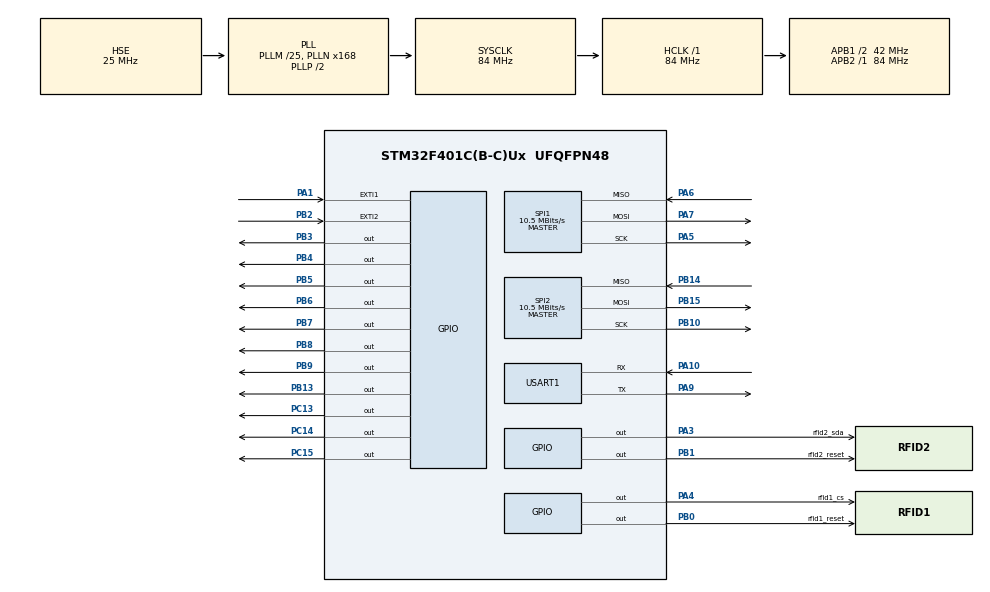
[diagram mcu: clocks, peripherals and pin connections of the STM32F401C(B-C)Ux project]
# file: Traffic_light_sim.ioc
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Mcu.Family=STM32F4
Mcu.Name=STM32F401C(B-C)Ux
Mcu.Package=UFQFPN48
NVIC.PriorityGroup=NVIC_PRIORITYGROUP_4
NVIC.TIM2_IRQn=true\:0\:0\:false\:false\:true\:true\:true\:true
PA1.GPIO_PuPd=GPIO_PULLDOWN
PA1.Signal=GPXTI1
PA10.Mode=Asynchronous
PA10.Signal=USART1_RX
PA13.Mode=Serial_Wire
PA13.Signal=SYS_JTMS-SWDIO
PA14.Mode=Serial_Wire
PA14.Signal=SYS_JTCK-SWCLK
PA3.GPIO_Label=rfid2_sda
PA3.Signal=GPIO_Output
PA4.GPIO_Label=rfid1_cs
PA4.Signal=GPIO_Output
PA5.Mode=Full_Duplex_Master
PA5.Signal=SPI1_SCK
PA6.Mode=Full_Duplex_Master
PA6.Signal=SPI1_MISO
PA7.Mode=Full_Duplex_Master
PA7.Signal=SPI1_MOSI
PA9.Mode=Asynchronous
PA9.Signal=USART1_TX
PB0.GPIO_Label=rfid1_reset
PB0.Signal=GPIO_Output
PB1.GPIO_Label=rfid2_reset
PB1.Signal=GPIO_Output
PB10.Mode=Full_Duplex_Master
PB10.Signal=SPI2_SCK
PB13.Signal=GPIO_Output
PB14.Mode=Full_Duplex_Master
PB14.Signal=SPI2_MISO
PB15.Mode=Full_Duplex_Master
PB15.Signal=SPI2_MOSI
PB2.GPIO_PuPd=GPIO_PULLDOWN
PB2.Signal=GPXTI2
PB3.Signal=GPIO_Output
PB4.Signal=GPIO_Output
PB5.Signal=GPIO_Output
PB6.Signal=GPIO_Output
PB7.Signal=GPIO_Output
PB8.Signal=GPIO_Output
PB9.Signal=GPIO_Output
PC13-ANTI_TAMP.Signal=GPIO_Output
PC14-OSC32_IN.Signal=GPIO_Output
PC15-OSC32_OUT.Signal=GPIO_Output
PH0\ -\ OSC_IN.Mode=HSE-External-Oscillator
PH0\ -\ OSC_IN.Signal=RCC_OSC_IN
PH1\ -\ OSC_OUT.Mode=HSE-External-Oscillator
PH1\ -\ OSC_OUT.Signal=RCC_OSC_OUT
ProjectManager.HeapSize=0x200
ProjectManager.StackSize=0x400
ProjectManager.TargetToolchain=STM32CubeIDE
RCC.48MHZClocksFreq_Value=42000000
RCC.AHBFreq_Value=84000000
RCC.APB1CLKDivider=RCC_HCLK_DIV2
RCC.APB1Freq_Value=42000000
RCC.APB1TimFreq_Value=84000000
RCC.APB2Freq_Value=84000000
RCC.APB2TimFreq_Value=84000000
RCC.CortexFreq_Value=84000000
RCC.HCLKFreq_Value=84000000
RCC.HSE_VALUE=25000000
RCC.HSI_VALUE=16000000
RCC.LSE_VALUE=32768
RCC.PLLM=25
RCC.PLLN=168
RCC.PLLSourceVirtual=RCC_PLLSOURCE_HSE
RCC.SYSCLKFreq_VALUE=84000000
RCC.SYSCLKSource=RCC_SYSCLKSOURCE_PLLCLK
RCC.VCOOutputFreq_Value=168000000
SPI1.BaudRatePrescaler=SPI_BAUDRATEPRESCALER_8
SPI1.CalculateBaudRate=10.5 MBits/s
SPI1.Direction=SPI_DIRECTION_2LINES
SPI1.Mode=SPI_MODE_MASTER
SPI1.VirtualType=VM_MASTER
SPI2.BaudRatePrescaler=SPI_BAUDRATEPRESCALER_4
SPI2.CalculateBaudRate=10.5 MBits/s
SPI2.Direction=SPI_DIRECTION_2LINES
SPI2.Mode=SPI_MODE_MASTER
SPI2.VirtualType=VM_MASTER
TIM2.Period=9999
TIM2.Prescaler=8399
USART1.VirtualMode=VM_ASYNC
VP_TIM2_VS_ClockSourceINT.Mode=Internal
board=custom

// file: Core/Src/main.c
/* USER CODE BEGIN Header */
//Reader 1 is South road
//Reader 2 is West Road.

/**
  ******************************************************************************
  * @file           : main.c
  * @brief          : Main program body
  ******************************************************************************
  * @attention
  *
  * Copyright (c) 2025 STMicroelectronics.
  * All rights reserved.
  *
  * This software is licensed under terms that can be found in the LICENSE file
  * in the root directory of this software component.
  * If no LICENSE file comes with this software, it is provided AS-IS.
  *
  ******************************************************************************
  */
/* USER CODE END Header */
#include "main.h"

/* USER CODE BEGIN Includes */
#include "stdio.h"
#include "string.h"
#include <rc522_1.h>
#include <rc522_2.h>
#include <stdbool.h>
/* USER CODE END Includes */

SPI_HandleTypeDef hspi1;
SPI_HandleTypeDef hspi2;

TIM_HandleTypeDef htim2;

UART_HandleTypeDef huart1;

/* USER CODE BEGIN PV */

typedef enum {
    CARD_NONE,
    CARD_AMBULANCE,
    CARD_POLICE,
    CARD_UNKNOWN
} CardType;

// Keep track of last detected card
CardType lastCard = CARD_NONE;

uint8_t status;
uint8_t str[MAX_LEN]; // Max_LEN = 16
uint8_t card_id[5];
uint8_t cardNumber = 2;
bool chainless = false;
bool chained = false;
bool emergencychange = false;

#define SOUTH_GREEN_PIN   GPIO_PIN_3
#define SOUTH_RED_PIN     GPIO_PIN_4
#define WEST_GREEN_PIN    GPIO_PIN_5
#define WEST_RED_PIN      GPIO_PIN_6
#define NORTH_GREEN_PIN   GPIO_PIN_7
#define NORTH_RED_PIN     GPIO_PIN_8
#define EAST_GREEN_PIN    GPIO_PIN_9
#define EAST_RED_PIN      GPIO_PIN_13
#define TRAFFIC_PORT      GPIOB

/* USER CODE END PV */

void SystemClock_Config(void);
static void MX_GPIO_Init(void);
static void MX_SPI1_Init(void);
static void MX_TIM2_Init(void);
static void MX_SPI2_Init(void);
static void MX_USART1_UART_Init(void);

/* USER CODE BEGIN 0 */

uint16_t timerCounter = 0;

typedef enum{
	reader1,
	reader2
}Reader;

typedef enum {
    SOUTH_GREEN,
    WEST_GREEN,
    NORTH_GREEN,
    EAST_GREEN
} TrafficState;

bool emergencySouth = false;
bool emergencyWest = false;
bool emergencyActive = false;  // Indicates currently giving priority
TrafficState prevState;
TrafficState trafficState = SOUTH_GREEN;
uint16_t trafficTimer = 0;  // counts seconds within one state

void SetAllRed() {
    HAL_GPIO_WritePin(TRAFFIC_PORT, SOUTH_RED_PIN, GPIO_PIN_SET);
    HAL_GPIO_WritePin(TRAFFIC_PORT, WEST_RED_PIN, GPIO_PIN_SET);
    HAL_GPIO_WritePin(TRAFFIC_PORT, NORTH_RED_PIN, GPIO_PIN_SET);
    HAL_GPIO_WritePin(TRAFFIC_PORT, EAST_RED_PIN, GPIO_PIN_SET);

    HAL_GPIO_WritePin(TRAFFIC_PORT, SOUTH_GREEN_PIN, GPIO_PIN_RESET);
    HAL_GPIO_WritePin(TRAFFIC_PORT, WEST_GREEN_PIN, GPIO_PIN_RESET);
    HAL_GPIO_WritePin(TRAFFIC_PORT, NORTH_GREEN_PIN, GPIO_PIN_RESET);
    HAL_GPIO_WritePin(TRAFFIC_PORT, EAST_GREEN_PIN, GPIO_PIN_RESET);
}

void SetTrafficState(TrafficState state) {
    SetAllRed();  // first turn everything red

    switch (state) {
        case SOUTH_GREEN:
            HAL_GPIO_WritePin(TRAFFIC_PORT, SOUTH_RED_PIN, GPIO_PIN_RESET);
            HAL_GPIO_WritePin(TRAFFIC_PORT, SOUTH_GREEN_PIN, GPIO_PIN_SET);
            break;
        case WEST_GREEN:
            HAL_GPIO_WritePin(TRAFFIC_PORT, WEST_RED_PIN, GPIO_PIN_RESET);
            HAL_GPIO_WritePin(TRAFFIC_PORT, WEST_GREEN_PIN, GPIO_PIN_SET);
            break;
        case NORTH_GREEN:
            HAL_GPIO_WritePin(TRAFFIC_PORT, NORTH_RED_PIN, GPIO_PIN_RESET);
            HAL_GPIO_WritePin(TRAFFIC_PORT, NORTH_GREEN_PIN, GPIO_PIN_SET);
            break;
        case EAST_GREEN:
            HAL_GPIO_WritePin(TRAFFIC_PORT, EAST_RED_PIN, GPIO_PIN_RESET);
            HAL_GPIO_WritePin(TRAFFIC_PORT, EAST_GREEN_PIN, GPIO_PIN_SET);
            break;
    }
}

void set_status(Reader readby){
		prevState = trafficState;
	if(readby == reader1){
		trafficTimer = 0;
		emergencychange = true;
		SetTrafficState(SOUTH_GREEN);
	}
	else if(readby == reader2){
		trafficTimer = 0;
		emergencychange = true;
		SetTrafficState(WEST_GREEN);
	}
}

void ProcessRFIDCard(uint8_t *card_id, const char *roadName)
{
	extern CardType lastCard;
	CardType currentCard = CARD_UNKNOWN;
    char msg[120];

    // Identify card
    if (card_id[2] == 174 && card_id[4] == 39)
        currentCard = CARD_AMBULANCE;
    else if (card_id[2] == 175 && card_id[4] == 118)
        currentCard = CARD_POLICE;
    else
        currentCard = CARD_UNKNOWN;

    // Only transmit if it's a new card or different from the last
    if (currentCard != CARD_UNKNOWN && currentCard != lastCard)
    {
        switch (currentCard)
        {
            case CARD_AMBULANCE:
                sprintf(msg,
                        "\r\n Ambulance detected at %s road!\r\nVehicle Number: KA20 G 9999\r\n",
                        roadName);
                break;

            case CARD_POLICE:
                sprintf(msg,
                        "\r\n Police vehicle detected at %s road!\r\nVehicle Number: KA20 G 1234\r\n",
                        roadName);
                break;

            default:
                return; // Unknown card, ignore
        }

        HAL_UART_Transmit(&huart1, (uint8_t *)msg, strlen(msg), HAL_MAX_DELAY);
        lastCard = currentCard;  // update last card
    }
}

/* USER CODE END 0 */

int main(void)
{

  /* MCU Configuration--------------------------------------------------------*/

  /* Reset of all peripherals, Initializes the Flash interface and the Systick. */
  HAL_Init();

  /* Configure the system clock */
  SystemClock_Config();

  /* Initialize all configured peripherals */
  MX_GPIO_Init();
  MX_SPI1_Init();
  MX_TIM2_Init();
  MX_SPI2_Init();
  MX_USART1_UART_Init();
  /* USER CODE BEGIN 2 */
  HAL_TIM_Base_Start_IT(&htim2);
  MFRC522_Init_1();
  MFRC522_Init();
  SetAllRed();
  SetTrafficState(SOUTH_GREEN);

  /* USER CODE END 2 */

  /* Infinite loop */
  /* USER CODE BEGIN WHILE */
  HAL_GPIO_WritePin(GPIOC, GPIO_PIN_13,0);
  while (1)
  {
	  //PC13 LED TESTER
//	  HAL_GPIO_WritePin(GPIOC, GPIO_PIN_13, 1);
//			  HAL_Delay(100);
//	  HAL_GPIO_WritePin(GPIOC, GPIO_PIN_13, 0);
//			  HAL_Delay(100);

//	  HAL_UART_Transmit(&huart1, data, sizeof(data), 1000);
//	  HAL_Delay(1000);

	  // South RFID
	  if (!emergencyActive && MFRC522_Request_1(PICC_REQIDL_1, str) == MI_OK)
	  {
	      status = MFRC522_Anticoll_1(str);
	      memcpy(card_id, str, 5);
	      ProcessRFIDCard(card_id,"South");
	      emergencySouth = true;   // Emergency detected on South

	      HAL_Delay(50);
	  }

	  // West RFID
	  if (!emergencyActive && MFRC522_Request(PICC_REQIDL, str) == MI_OK)
	  {
	      status = MFRC522_Anticoll(str);
	      memcpy(card_id, str, 5);
	      ProcessRFIDCard(card_id,"West");
	      emergencyWest = true;    // Emergency detected on West
	      HAL_Delay(50);
	  }

    /* USER CODE END WHILE */

  }
}

void SystemClock_Config(void)
{
  RCC_OscInitTypeDef RCC_OscInitStruct = {0};
  RCC_ClkInitTypeDef RCC_ClkInitStruct = {0};

  /** Configure the main internal regulator output voltage
  */
  __HAL_RCC_PWR_CLK_ENABLE();
  __HAL_PWR_VOLTAGESCALING_CONFIG(PWR_REGULATOR_VOLTAGE_SCALE2);

  /** Initializes the RCC Oscillators according to the specified parameters
  * in the RCC_OscInitTypeDef structure.
  */
  RCC_OscInitStruct.OscillatorType = RCC_OSCILLATORTYPE_HSE;
  RCC_OscInitStruct.HSEState = RCC_HSE_ON;
  RCC_OscInitStruct.PLL.PLLState = RCC_PLL_ON;
  RCC_OscInitStruct.PLL.PLLSource = RCC_PLLSOURCE_HSE;
  RCC_OscInitStruct.PLL.PLLM = 25;
  RCC_OscInitStruct.PLL.PLLN = 168;
  RCC_OscInitStruct.PLL.PLLP = RCC_PLLP_DIV2;
  RCC_OscInitStruct.PLL.PLLQ = 4;
  if (HAL_RCC_OscConfig(&RCC_OscInitStruct) != HAL_OK)
  {
    Error_Handler();
  }

  /** Initializes the CPU, AHB and APB buses clocks
  */
  RCC_ClkInitStruct.ClockType = RCC_CLOCKTYPE_HCLK|RCC_CLOCKTYPE_SYSCLK
                              |RCC_CLOCKTYPE_PCLK1|RCC_CLOCKTYPE_PCLK2;
  RCC_ClkInitStruct.SYSCLKSource = RCC_SYSCLKSOURCE_PLLCLK;
  RCC_ClkInitStruct.AHBCLKDivider = RCC_SYSCLK_DIV1;
  RCC_ClkInitStruct.APB1CLKDivider = RCC_HCLK_DIV2;
  RCC_ClkInitStruct.APB2CLKDivider = RCC_HCLK_DIV1;

  if (HAL_RCC_ClockConfig(&RCC_ClkInitStruct, FLASH_LATENCY_2) != HAL_OK)
  {
    Error_Handler();
  }
}

static void MX_SPI1_Init(void)
{

  /* SPI1 parameter configuration*/
  hspi1.Instance = SPI1;
  hspi1.Init.Mode = SPI_MODE_MASTER;
  hspi1.Init.Direction = SPI_DIRECTION_2LINES;
  hspi1.Init.DataSize = SPI_DATASIZE_8BIT;
  hspi1.Init.CLKPolarity = SPI_POLARITY_LOW;
  hspi1.Init.CLKPhase = SPI_PHASE_1EDGE;
  hspi1.Init.NSS = SPI_NSS_SOFT;
  hspi1.Init.BaudRatePrescaler = SPI_BAUDRATEPRESCALER_8;
  hspi1.Init.FirstBit = SPI_FIRSTBIT_MSB;
  hspi1.Init.TIMode = SPI_TIMODE_DISABLE;
  hspi1.Init.CRCCalculation = SPI_CRCCALCULATION_DISABLE;
  hspi1.Init.CRCPolynomial = 10;
  if (HAL_SPI_Init(&hspi1) != HAL_OK)
  {
    Error_Handler();
  }

}

static void MX_SPI2_Init(void)
{

  /* SPI2 parameter configuration*/
  hspi2.Instance = SPI2;
  hspi2.Init.Mode = SPI_MODE_MASTER;
  hspi2.Init.Direction = SPI_DIRECTION_2LINES;
  hspi2.Init.DataSize = SPI_DATASIZE_8BIT;
  hspi2.Init.CLKPolarity = SPI_POLARITY_LOW;
  hspi2.Init.CLKPhase = SPI_PHASE_1EDGE;
  hspi2.Init.NSS = SPI_NSS_SOFT;
  hspi2.Init.BaudRatePrescaler = SPI_BAUDRATEPRESCALER_4;
  hspi2.Init.FirstBit = SPI_FIRSTBIT_MSB;
  hspi2.Init.TIMode = SPI_TIMODE_DISABLE;
  hspi2.Init.CRCCalculation = SPI_CRCCALCULATION_DISABLE;
  hspi2.Init.CRCPolynomial = 10;
  if (HAL_SPI_Init(&hspi2) != HAL_OK)
  {
    Error_Handler();
  }

}

static void MX_TIM2_Init(void)
{

  TIM_ClockConfigTypeDef sClockSourceConfig = {0};
  TIM_MasterConfigTypeDef sMasterConfig = {0};

  htim2.Instance = TIM2;
  htim2.Init.Prescaler = 8399;
  htim2.Init.CounterMode = TIM_COUNTERMODE_UP;
  htim2.Init.Period = 9999;
  htim2.Init.ClockDivision = TIM_CLOCKDIVISION_DIV1;
  htim2.Init.AutoReloadPreload = TIM_AUTORELOAD_PRELOAD_DISABLE;
  if (HAL_TIM_Base_Init(&htim2) != HAL_OK)
  {
    Error_Handler();
  }
  sClockSourceConfig.ClockSource = TIM_CLOCKSOURCE_INTERNAL;
  if (HAL_TIM_ConfigClockSource(&htim2, &sClockSourceConfig) != HAL_OK)
  {
    Error_Handler();
  }
  sMasterConfig.MasterOutputTrigger = TIM_TRGO_RESET;
  sMasterConfig.MasterSlaveMode = TIM_MASTERSLAVEMODE_DISABLE;
  if (HAL_TIMEx_MasterConfigSynchronization(&htim2, &sMasterConfig) != HAL_OK)
  {
    Error_Handler();
  }

}

static void MX_USART1_UART_Init(void)
{

  huart1.Instance = USART1;
  huart1.Init.BaudRate = 115200;
  huart1.Init.WordLength = UART_WORDLENGTH_8B;
  huart1.Init.StopBits = UART_STOPBITS_1;
  huart1.Init.Parity = UART_PARITY_NONE;
  huart1.Init.Mode = UART_MODE_TX_RX;
  huart1.Init.HwFlowCtl = UART_HWCONTROL_NONE;
  huart1.Init.OverSampling = UART_OVERSAMPLING_16;
  if (HAL_UART_Init(&huart1) != HAL_OK)
  {
    Error_Handler();
  }

}

static void MX_GPIO_Init(void)
{
  GPIO_InitTypeDef GPIO_InitStruct = {0};

  /* GPIO Ports Clock Enable */
  __HAL_RCC_GPIOC_CLK_ENABLE();
  __HAL_RCC_GPIOH_CLK_ENABLE();
  __HAL_RCC_GPIOA_CLK_ENABLE();
  __HAL_RCC_GPIOB_CLK_ENABLE();

  /*Configure GPIO pin Output Level */
  HAL_GPIO_WritePin(GPIOC, GPIO_PIN_13|GPIO_PIN_14|GPIO_PIN_15, GPIO_PIN_RESET);

  /*Configure GPIO pin Output Level */
  HAL_GPIO_WritePin(GPIOA, rfid2_sda_Pin|rfid1_cs_Pin, GPIO_PIN_RESET);

  /*Configure GPIO pin Output Level */
  HAL_GPIO_WritePin(GPIOB, rfid1_reset_Pin|rfid2_reset_Pin|GPIO_PIN_13|GPIO_PIN_3
                          |GPIO_PIN_4|GPIO_PIN_5|GPIO_PIN_6|GPIO_PIN_7
                          |GPIO_PIN_8|GPIO_PIN_9, GPIO_PIN_RESET);

  /*Configure GPIO pins : PC13 PC14 PC15 */
  GPIO_InitStruct.Pin = GPIO_PIN_13|GPIO_PIN_14|GPIO_PIN_15;
  GPIO_InitStruct.Mode = GPIO_MODE_OUTPUT_PP;
  GPIO_InitStruct.Pull = GPIO_NOPULL;
  GPIO_InitStruct.Speed = GPIO_SPEED_FREQ_LOW;
  HAL_GPIO_Init(GPIOC, &GPIO_InitStruct);

  /*Configure GPIO pins : rfid2_sda_Pin rfid1_cs_Pin */
  GPIO_InitStruct.Pin = rfid2_sda_Pin|rfid1_cs_Pin;
  GPIO_InitStruct.Mode = GPIO_MODE_OUTPUT_PP;
  GPIO_InitStruct.Pull = GPIO_NOPULL;
  GPIO_InitStruct.Speed = GPIO_SPEED_FREQ_LOW;
  HAL_GPIO_Init(GPIOA, &GPIO_InitStruct);

  /*Configure GPIO pins : rfid1_reset_Pin rfid2_reset_Pin PB13 PB3
                           PB4 PB5 PB6 PB7
                           PB8 PB9 */
  GPIO_InitStruct.Pin = rfid1_reset_Pin|rfid2_reset_Pin|GPIO_PIN_13|GPIO_PIN_3
                          |GPIO_PIN_4|GPIO_PIN_5|GPIO_PIN_6|GPIO_PIN_7
                          |GPIO_PIN_8|GPIO_PIN_9;
  GPIO_InitStruct.Mode = GPIO_MODE_OUTPUT_PP;
  GPIO_InitStruct.Pull = GPIO_NOPULL;
  GPIO_InitStruct.Speed = GPIO_SPEED_FREQ_LOW;
  HAL_GPIO_Init(GPIOB, &GPIO_InitStruct);

  /*Configure GPIO pin : PB2 */
  GPIO_InitStruct.Pin = GPIO_PIN_2;
  GPIO_InitStruct.Mode = GPIO_MODE_IT_RISING;
  GPIO_InitStruct.Pull = GPIO_PULLDOWN;
  HAL_GPIO_Init(GPIOB, &GPIO_InitStruct);

}

/* USER CODE BEGIN 4 */
void HAL_TIM_PeriodElapsedCallback(TIM_HandleTypeDef *htim)
{
    if (htim->Instance != TIM2) return;

    trafficTimer++;  // seconds

    if (emergencyActive) {
        if (trafficTimer >= 10) {
            trafficTimer = 0;
            emergencyActive = false;

            // ✅ Reset last detected card after emergency ends
            extern CardType lastCard;
            lastCard = CARD_NONE;

            // Only go back to previous state if it's different
            if (trafficState != prevState) {
                trafficState = prevState; // resume normal
            } else {
                // advance to the next normal state
                switch (trafficState) {
                    case SOUTH_GREEN: trafficState = WEST_GREEN; break;
                    case WEST_GREEN: trafficState = NORTH_GREEN; break;
                    case NORTH_GREEN: trafficState = EAST_GREEN; break;
                    case EAST_GREEN: trafficState = SOUTH_GREEN; break;
                }
            }

            SetTrafficState(trafficState);
        }
        return;
    }

    // Check for new emergency
    if (emergencySouth) {
        prevState = trafficState;
        trafficState = SOUTH_GREEN;
        emergencySouth = false;
        emergencyActive = true;
        trafficTimer = 0;
        SetTrafficState(trafficState);
        return;
    }
    if (emergencyWest) {
        prevState = trafficState;
        trafficState = WEST_GREEN;
        emergencyWest = false;
        emergencyActive = true;
        trafficTimer = 0;
        SetTrafficState(trafficState);
        return;
    }

    // Normal state machine
    switch (trafficState)
    {
        case SOUTH_GREEN:
            if (trafficTimer >= 10) {
                trafficTimer = 0;
                prevState = trafficState;
                trafficState = WEST_GREEN;
                SetTrafficState(trafficState);
            }
            break;
        case WEST_GREEN:
            if (trafficTimer >= 10) {
                trafficTimer = 0;
                prevState = trafficState;
                trafficState = NORTH_GREEN;
                SetTrafficState(trafficState);
            }
            break;
        case NORTH_GREEN:
            if (trafficTimer >= 10) {
                trafficTimer = 0;
                prevState = trafficState;
                trafficState = EAST_GREEN;
                SetTrafficState(trafficState);
            }
            break;
        case EAST_GREEN:
            if (trafficTimer >= 10) {
                trafficTimer = 0;
                prevState = trafficState;
                trafficState = SOUTH_GREEN;
                SetTrafficState(trafficState);
            }
            break;
    }
}

/* USER CODE END 4 */

void Error_Handler(void)
{
  __disable_irq();
  while (1)
  {
  }
}
